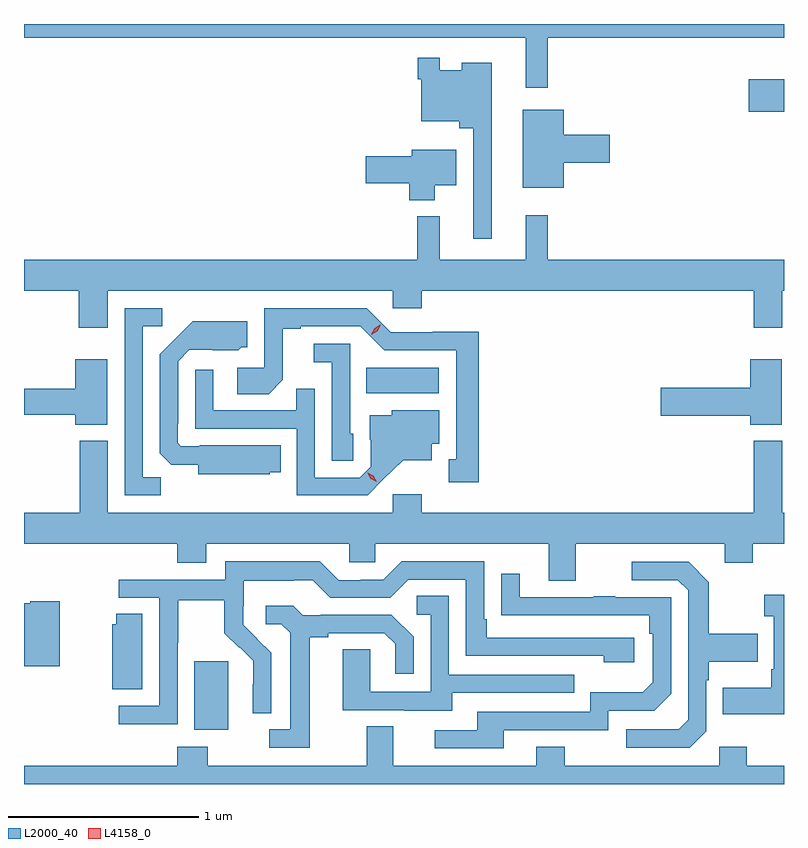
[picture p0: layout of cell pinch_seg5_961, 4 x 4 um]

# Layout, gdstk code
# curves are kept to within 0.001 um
import gdstk
lib = gdstk.Library(unit=1e-6, precision=1e-09)
def R(c, l, rs):  # rectangles x0, y0, x1, y1
    for r in rs: c.add(gdstk.rectangle(r[:2], r[2:], *l))
def P(c, l, *ps):  # polygons
    for p in ps: c.add(gdstk.Polygon(p, *l))
L2000_40 = (2000, 40)
L4158_0 = (4158, 0)

pinch_seg5_961 = lib.new_cell('pinch_seg5_961')
R(pinch_seg5_961, L2000_40, [(748.073,910.394,748.252,910.755), (748.978,912.164,749.359,912.298), (750.99,913.646,751.176,913.816)])
P(pinch_seg5_961, L2000_40, [(749.933,914.036),(751.176,914.036),(751.176,914.108),(747.176,914.108),(747.176,914.036),(749.816,914.036),(749.816,913.773),(749.933,913.773)],
  [(749.638,913.903),(749.48,913.903),(749.48,913.864),(749.364,913.864),(749.364,913.93),(749.248,913.93),(749.248,913.817),(749.268,913.817),(749.268,913.595),(749.468,913.595),(749.468,913.559),(749.541,913.559),(749.541,912.978),(749.638,912.978)],
  [(750.016,913.379),(750.259,913.379),(750.259,913.526),(750.016,913.526),(750.016,913.657),(749.801,913.657),(749.801,913.247),(750.016,913.247)],
  [(749.338,913.259),(749.452,913.259),(749.452,913.447),(749.216,913.447),(749.216,913.412),(748.974,913.412),(748.974,913.27),(749.204,913.27),(749.204,913.181),(749.338,913.181)],
  [(747.616,912.704),(749.118,912.704),(749.118,912.611),(749.27,912.611),(749.27,912.704),(751.016,912.704),(751.016,912.51),(751.168,912.51),(751.168,912.704),(751.176,912.704),(751.176,912.868),(749.933,912.868),(749.933,913.102),(749.816,913.102),(749.816,912.868),(749.363,912.868),(749.363,913.096),(749.245,913.096),(749.245,912.868),(747.176,912.868),(747.176,912.704),(747.464,912.704),(747.464,912.51),(747.616,912.51)],
  [(749.569,912.488),(749.328,912.488),(749.328,912.486),(749.106,912.486),(748.98,912.612),(748.44,912.612),(748.44,912.3),(748.299,912.3),(748.299,912.16),(748.463,912.16),(748.539,912.236),(748.539,912.504),(748.633,912.504),(748.633,912.516),(748.947,912.516),(749.073,912.39),(749.45,912.39),(749.45,911.817),(749.411,911.817),(749.411,911.697),(749.569,911.697)],
  [(747.897,911.723),(747.801,911.723),(747.801,912.516),(747.904,912.516),(747.904,912.612),(747.705,912.612),(747.705,911.628),(747.897,911.628)],
  [(748.47,911.75),(748.526,911.75),(748.526,911.89),(748.102,911.89),(748.102,911.886),(748.002,911.886),(747.984,911.904),(747.984,912.004),(747.987,912.004),(747.987,912.333),(748.047,912.393),(748.304,912.392),(748.32,912.408),(748.351,912.408),(748.351,912.544),(748.063,912.544),(747.891,912.37),(747.891,911.848),(747.95,911.789),(748.094,911.789),(748.094,911.738),(748.47,911.738)],
  [(748.908,911.952),(748.893,911.952),(748.893,912.426),(748.701,912.426),(748.701,912.329),(748.797,912.329),(748.797,911.809),(748.908,911.809)],
  [(751.165,912.343),(750.998,912.343),(750.998,912.194),(750.528,912.194),(750.528,912.047),(750.998,912.047),(750.998,911.999),(751.165,911.999)],
  [(747.613,912.343),(747.446,912.343),(747.446,912.188),(747.176,912.188),(747.176,912.052),(747.446,912.052),(747.446,911.999),(747.613,911.999)],
  [(749.068,911.711),(749.171,911.813),(749.323,911.813),(749.323,911.9),(749.362,911.9),(749.362,912.076),(749.112,912.076),(749.112,912.049),(748.997,912.049),(748.997,911.92),(749.001,911.92),(749.001,911.778),(748.944,911.721),(748.707,911.721),(748.707,912.188),(748.609,912.188),(748.609,912.075),(748.173,912.075),(748.173,912.289),(748.077,912.289),(748.077,911.979),(748.611,911.979),(748.611,911.628),(748.984,911.628)],
  [(750.079,911.372),(750.863,911.372),(750.863,911.273),(751.011,911.273),(751.011,911.372),(751.176,911.372),(751.176,911.536),(751.168,911.536),(751.168,911.914),(751.016,911.914),(751.016,911.536),(749.27,911.536),(749.27,911.632),(749.118,911.632),(749.118,911.536),(747.616,911.536),(747.616,911.914),(747.469,911.914),(747.469,911.536),(747.176,911.536),(747.176,911.372),(747.983,911.372),(747.983,911.273),(748.135,911.273),(748.135,911.372),(748.887,911.372),(748.887,911.274),(749.025,911.274),(749.025,911.372),(749.939,911.372),(749.939,911.178),(750.079,911.178)],
  [(747.984,910.852),(747.987,910.852),(747.987,911.076),(748.231,911.076),(748.231,910.901),(748.308,910.824),(748.311,910.827),(748.382,910.757),(748.382,910.634),(748.38,910.634),(748.38,910.48),(748.476,910.48),(748.476,910.798),(748.33,910.946),(748.33,911.043),(748.332,911.043),(748.332,911.177),(748.595,911.177),(748.595,911.181),(748.695,911.181),(748.788,911.088),(749.103,911.088),(749.199,911.184),(749.502,911.184),(749.502,910.782),(750.227,910.782),(750.227,910.748),(750.388,910.748),(750.388,910.878),(749.611,910.878),(749.611,910.975),(749.598,910.975),(749.598,911.28),(749.163,911.28),(749.067,911.184),(748.949,911.184),(748.949,911.181),(748.833,911.181),(748.733,911.281),(748.236,911.281),(748.236,911.184),(747.675,911.184),(747.675,911.088),(747.888,911.088),(747.888,910.521),(747.675,910.521),(747.675,910.423),(747.984,910.423)],
  [(750.768,910.386),(750.768,910.655),(750.781,910.655),(750.781,910.751),(751.037,910.751),(751.037,910.899),(750.781,910.899),(750.781,911.171),(750.675,911.277),(750.375,911.277),(750.375,911.181),(750.618,911.181),(750.672,911.127),(750.672,910.446),(750.621,910.395),(750.345,910.395),(750.345,910.299),(750.681,910.299)],
  [(749.701,910.392),(750.252,910.392),(750.252,910.494),(750.492,910.494),(750.582,910.584),(750.582,911.091),(750.287,911.091),(750.287,911.096),(750.175,911.096),(750.175,911.091),(749.785,911.091),(749.785,911.215),(749.689,911.215),(749.689,910.996),(750.466,910.995),(750.466,910.898),(750.486,910.898),(750.486,910.644),(750.433,910.591),(750.156,910.591),(750.156,910.488),(749.561,910.488),(749.561,910.392),(749.337,910.392),(749.337,910.296),(749.701,910.296)],
  [(751.176,911.104),(751.071,911.104),(751.071,910.991),(751.122,910.991),(751.122,910.711),(751.11,910.711),(751.11,910.615),(750.853,910.615),(750.853,910.475),(751.176,910.475)],
  [(749.431,910.587),(750.071,910.587),(750.071,910.683),(749.412,910.683),(749.412,911.099),(749.244,911.099),(749.244,910.998),(749.316,910.998),(749.316,910.593),(748.998,910.593),(748.998,910.817),(748.853,910.817),(748.853,910.497),(749.177,910.497),(749.177,910.493),(749.431,910.493)],
  [(747.364,911.071),(747.21,911.071),(747.21,911.059),(747.176,911.059),(747.176,910.727),(747.364,910.727)],
  [(748.681,910.88),(748.777,910.88),(748.777,910.902),(749.072,910.902),(749.129,910.845),(749.129,910.689),(749.226,910.689),(749.226,910.882),(749.11,910.998),(748.738,910.998),(748.738,910.995),(748.644,910.995),(748.592,911.047),(748.449,911.047),(748.449,910.95),(748.53,910.95),(748.577,910.903),(748.577,910.395),(748.467,910.395),(748.467,910.299),(748.681,910.299)],
  [(747.799,911.003),(747.661,911.003),(747.661,910.95),(747.641,910.95),(747.641,910.606),(747.799,910.606)],
  [(751.176,910.204),(750.981,910.204),(750.981,910.303),(750.834,910.303),(750.834,910.204),(750.021,910.204),(750.021,910.303),(749.873,910.303),(749.873,910.204),(749.119,910.204),(749.119,910.412),(748.979,910.412),(748.979,910.204),(748.143,910.204),(748.143,910.303),(747.983,910.303),(747.983,910.204),(747.176,910.204),(747.176,910.108),(751.176,910.108)])
P(pinch_seg5_961, L4158_0, [(749.003,912.473),(749.003,912.474),(749.021,912.506),(749.052,912.525),(749.053,912.525),(749.053,912.525),(749.035,912.492),(749.003,912.473)],
  [(749.032,911.7),(749.001,911.715),(748.984,911.744),(748.984,911.745),(748.984,911.745),(749.015,911.73),(749.032,911.7),(749.032,911.7)])

lib.write_gds('pinch_seg5_961.gds')
